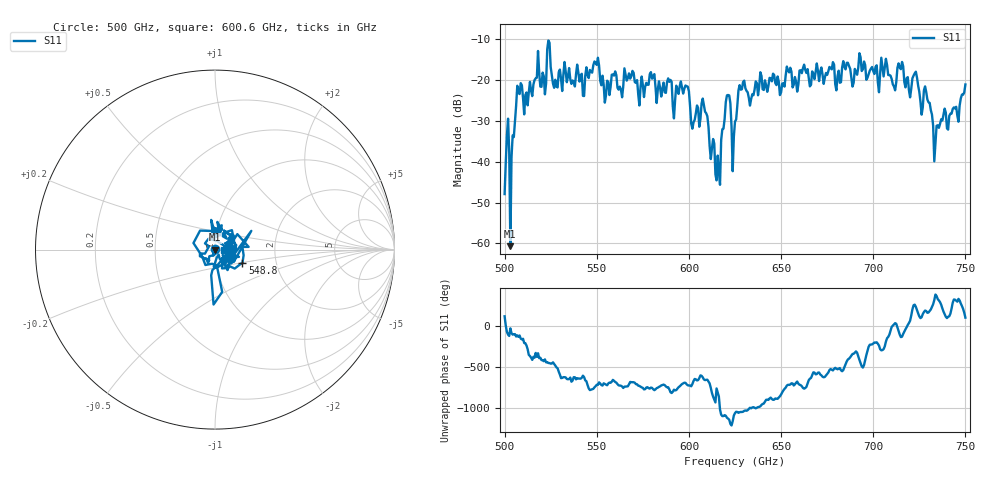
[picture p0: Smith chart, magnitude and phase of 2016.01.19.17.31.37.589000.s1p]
!Created with skrf (http://scikit-rf.org).
# GHz S RI R 50.0
!freq ReS11 ImS11
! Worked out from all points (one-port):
!   401 points, 500 GHz to 750 GHz, reference 50 ohm
!   lowest |S11| = -60.7 dB at 503.1 GHz (marker M1), VSWR 1.00, Z = 50.1 - j0.0488 ohm
!   |S11| at or under -10 dB: start of sweep to end of sweep
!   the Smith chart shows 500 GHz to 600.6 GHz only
!   S11 on the Smith chart (normalised r, x): 500 GHz: 1.00, +0.01; 548.8 GHz: 1.34, -0.20; 600.6 GHz: 1.10, -0.01
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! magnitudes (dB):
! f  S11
! 500 GHz  -47.9
! 501.2 GHz  -33.5
! 503.1 GHz  -60.7
! 504.4 GHz  -33.5
! 508.1 GHz  -23.4
! 521.2 GHz  -19.0
! 524.4 GHz  -10.9
! 527.5 GHz  -19.9
! 531.2 GHz  -22.7
! 548.8 GHz  -15.4
! 562.5 GHz  -21.6
! 568.8 GHz  -19.0
! 593.8 GHz  -22.2
! 600.6 GHz  -26.3
! 608.8 GHz  -27.7
! 615.6 GHz  -38.5
! 621.2 GHz  -23.6
! 625 GHz  -30.2
! 628.8 GHz  -22.2
! 656.2 GHz  -21.8
! 687.5 GHz  -17.2
! 705.6 GHz  -19.1
! 711.2 GHz  -21.6
! 715 GHz  -17.3
! 718.8 GHz  -19.3
! 728.8 GHz  -22.9
! 734.4 GHz  -31.2
! 750 GHz  -21.1
